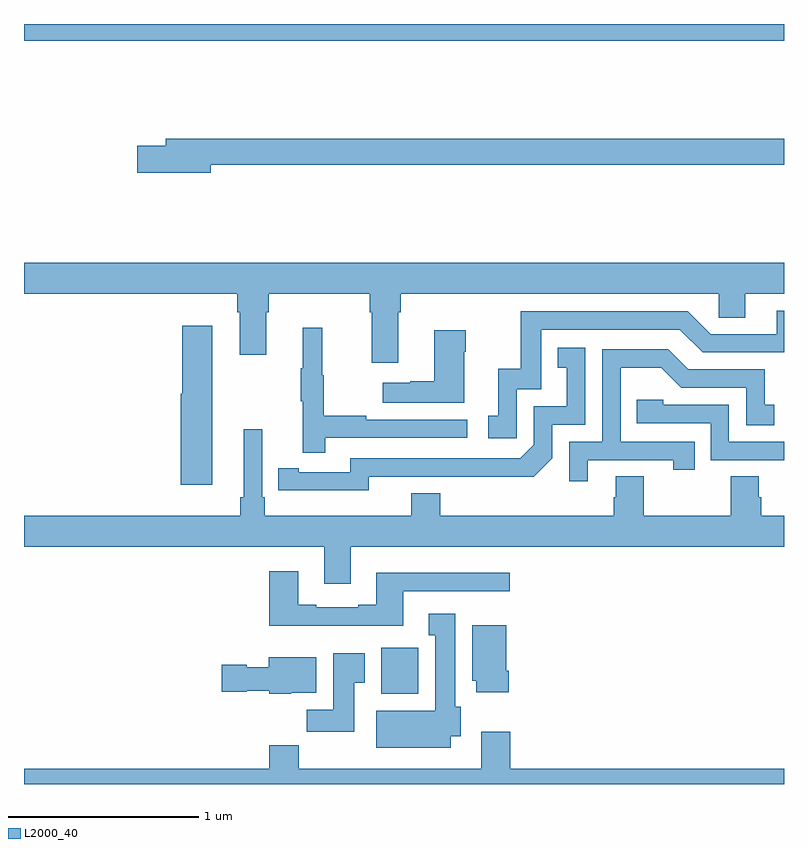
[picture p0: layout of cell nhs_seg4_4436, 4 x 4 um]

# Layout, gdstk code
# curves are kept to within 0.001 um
import gdstk
lib = gdstk.Library(unit=1e-6, precision=1e-09)
def R(c, l, rs):  # rectangles x0, y0, x1, y1
    for r in rs: c.add(gdstk.rectangle(r[:2], r[2:], *l))
def P(c, l, *ps):  # polygons
    for p in ps: c.add(gdstk.Polygon(p, *l))
L2000_40 = (2000, 40)

nhs_seg4_4436 = lib.new_cell('nhs_seg4_4436')
R(nhs_seg4_4436, L2000_40, [(350.879,801.374,351.076,801.616), (349,804.812,353,804.9)])
P(nhs_seg4_4436, L2000_40, [(349.984,804.16),(353,804.16),(353,804.296),(349.745,804.296),(349.745,804.26),(349.596,804.26),(349.596,804.118),(349.984,804.118)],
  [(350.971,803.384),(350.984,803.384),(350.984,803.48),(352.656,803.48),(352.656,803.353),(352.795,803.353),(352.795,803.48),(353,803.48),(353,803.644),(349,803.644),(349,803.48),(350.123,803.48),(350.123,803.384),(350.135,803.384),(350.135,803.16),(350.275,803.16),(350.275,803.384),(350.288,803.384),(350.288,803.48),(350.819,803.48),(350.819,803.384),(350.831,803.384),(350.831,803.118),(350.971,803.118)],
  [(351.594,802.977),(351.723,802.977),(351.723,803.292),(352.452,803.292),(352.572,803.172),(353,803.172),(353,803.391),(352.961,803.391),(352.961,803.268),(352.614,803.268),(352.494,803.388),(351.615,803.388),(351.615,803.086),(351.497,803.086),(351.497,802.839),(351.444,802.839),(351.444,802.719),(351.594,802.719)],
  [(349.99,803.311),(349.832,803.311),(349.832,802.953),(349.826,802.953),(349.826,802.476),(349.99,802.476)],
  [(350.585,802.722),(351.334,802.722),(351.334,802.818),(350.801,802.818),(350.801,802.838),(350.578,802.838),(350.578,803.052),(350.57,803.052),(350.57,803.302),(350.468,803.302),(350.468,803.089),(350.457,803.089),(350.457,802.915),(350.468,802.915),(350.468,802.644),(350.585,802.644)],
  [(351.316,803.174),(351.324,803.174),(351.324,803.287),(351.158,803.287),(351.158,803.021),(351.032,803.021),(351.032,803.011),(350.889,803.011),(350.889,802.907),(351.316,802.907)],
  [(350.814,802.518),(351.682,802.517),(351.78,802.614),(351.78,802.791),(351.954,802.791),(351.954,803.197),(351.808,803.197),(351.808,803.091),(351.857,803.091),(351.857,802.887),(351.684,802.887),(351.684,802.686),(351.612,802.614),(350.718,802.614),(350.718,802.542),(350.446,802.542),(350.446,802.562),(350.338,802.562),(350.338,802.446),(350.814,802.445)],
  [(351.967,802.605),(352.418,802.605),(352.418,802.554),(352.529,802.554),(352.529,802.701),(352.14,802.701),(352.14,803.09),(352.354,803.09),(352.458,802.986),(352.8,802.986),(352.8,802.788),(352.948,802.788),(352.948,802.897),(352.899,802.897),(352.899,803.082),(352.495,803.082),(352.39,803.187),(352.044,803.187),(352.044,802.701),(351.87,802.701),(351.87,802.494),(351.967,802.494)],
  [(353,802.701),(352.71,802.701),(352.71,802.896),(352.365,802.896),(352.365,802.923),(352.225,802.923),(352.225,802.8),(352.614,802.8),(352.614,802.605),(353,802.605)],
  [(350.719,802.148),(353,802.148),(353,802.312),(352.88,802.312),(352.88,802.41),(352.867,802.41),(352.867,802.52),(352.72,802.52),(352.72,802.312),(352.263,802.312),(352.263,802.52),(352.115,802.52),(352.115,802.41),(352.103,802.41),(352.103,802.312),(351.191,802.312),(351.191,802.429),(351.038,802.429),(351.038,802.312),(350.267,802.312),(350.267,802.408),(350.253,802.408),(350.253,802.768),(350.156,802.768),(350.156,802.408),(350.137,802.408),(350.137,802.312),(349,802.312),(349,802.148),(350.579,802.148),(350.579,801.954),(350.719,801.954)],
  [(350.995,801.915),(351.556,801.915),(351.556,802.012),(350.855,802.012),(350.855,801.844),(350.759,801.844),(350.759,801.831),(350.539,801.831),(350.539,801.844),(350.443,801.844),(350.443,802.021),(350.291,802.021),(350.291,801.734),(350.995,801.734)],
  [(351.247,801.152),(351.298,801.152),(351.298,801.306),(351.271,801.306),(351.271,801.796),(351.131,801.796),(351.131,801.683),(351.164,801.683),(351.164,801.286),(350.855,801.286),(350.855,801.092),(351.247,801.092)],
  [(351.551,801.496),(351.538,801.496),(351.538,801.736),(351.359,801.736),(351.359,801.444),(351.38,801.444),(351.38,801.384),(351.551,801.384)],
  [(350.737,801.433),(350.794,801.433),(350.794,801.589),(350.627,801.589),(350.627,801.292),(350.488,801.292),(350.488,801.174),(350.737,801.174)],
  [(350.406,801.38),(350.539,801.38),(350.539,801.568),(350.288,801.568),(350.288,801.514),(350.172,801.514),(350.172,801.527),(350.04,801.527),(350.04,801.385),(350.172,801.385),(350.172,801.392),(350.292,801.392),(350.292,801.374),(350.406,801.374)],
  [(353,800.98),(351.56,800.98),(351.56,801.175),(351.407,801.175),(351.407,800.98),(350.447,800.98),(350.447,801.104),(350.291,801.104),(350.291,800.98),(349,800.98),(349,800.9),(353,800.9)])

lib.write_gds('nhs_seg4_4436.gds')
